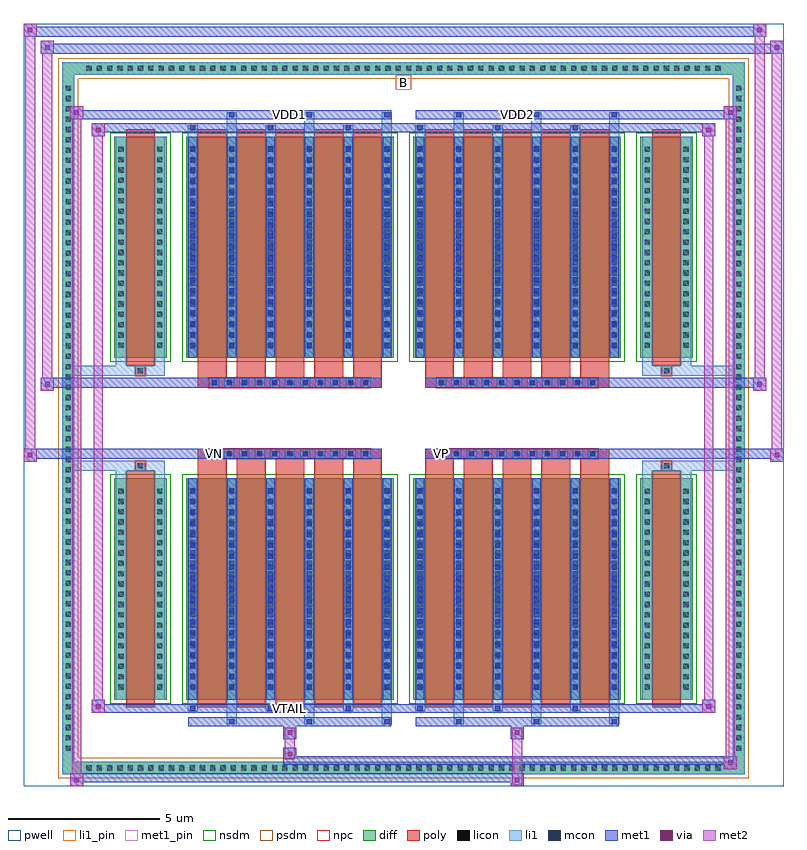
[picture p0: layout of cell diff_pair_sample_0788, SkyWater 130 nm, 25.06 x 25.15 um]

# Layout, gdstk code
import gdstk
lib = gdstk.Library(unit=1e-6, precision=5e-09)
def R(c, l, rs):  # rectangles x0, y0, x1, y1
    for r in rs: c.add(gdstk.rectangle(r[:2], r[2:], *l))
def A(c, l, x, y, w, h, nx, ny, dx, dy):  # array of equal rectangles
    R(c, l, [(x+i*dx, y+j*dy, x+i*dx+w, y+j*dy+h) for i in range(nx) for j in range(ny)])
def P(c, l, *ps):  # polygons
    for p in ps: c.add(gdstk.Polygon(p, *l))
pwell = (64, 44)
diff = (65, 20)
poly = (66, 20)
licon = (66, 44)
li1_pin = (67, 16)
li1 = (67, 20)
mcon = (67, 44)
met1_pin = (68, 16)
met1 = (68, 20)
via = (68, 44)
met2 = (69, 20)
nsdm = (93, 44)
psdm = (94, 20)
npc = (95, 20)

diff_pair_sample_0788 = lib.new_cell('diff_pair_sample_0788')
R(diff_pair_sample_0788, pwell, [(-12.53,-12.14,12.53,13.01), (-9.85,-10.33,-0.01,-0.805), (0.01,-10.33,9.85,-0.805), (-9.85,0.805,-0.01,10.33), (0.01,0.805,9.85,10.33)])
A(diff_pair_sample_0788, diff, -10.575, -11.74, 0.41, 0.41, 62, 2, 0.34, 23.07)
A(diff_pair_sample_0788, diff, -11.26, -11.085, 0.41, 0.41, 1, 65, 0, 0.34)
A(diff_pair_sample_0788, diff, 10.85, -11.085, 0.41, 0.41, 1, 65, 0, 0.34)
R(diff_pair_sample_0788, diff, [(-10.575,-11.74,10.575,-11.33), (-11.26,-11.085,-10.85,11.085), (10.85,-11.085,11.26,11.085), (-9.54,-9.285,-7.81,-1.985), (-7.17,-9.285,-0.32,-1.985), (0.32,-9.285,7.17,-1.985), (7.81,-9.285,9.54,-1.985), (-9.54,1.985,-7.81,9.285), (-7.17,1.985,-0.32,9.285), (0.32,1.985,7.17,9.285), (7.81,1.985,9.54,9.285), (-10.575,11.33,10.575,11.74)])
P(diff_pair_sample_0788, diff, [(11.26,11.74),(-11.26,11.74),(-11.26,-11.33),(-10.85,-11.33),(-10.85,11.33),(10.85,11.33),(10.85,-11.33),(-10.85,-11.33),(-11.26,-11.33),(-11.26,-11.74),(11.26,-11.74)])
A(diff_pair_sample_0788, poly, -6.78, -9.535, 0.95, 7.8, 5, 2, 1.28, 11.27)
A(diff_pair_sample_0788, poly, 0.71, -9.535, 0.95, 7.8, 5, 2, 1.28, 11.27)
A(diff_pair_sample_0788, poly, -6.78, -1.735, 0.95, 0.4, 5, 2, 1.28, 3.07)
A(diff_pair_sample_0788, poly, 0.71, -1.735, 0.95, 0.4, 5, 2, 1.28, 3.07)
A(diff_pair_sample_0788, poly, -6.41, -1.335, 0.33, 0.33, 11, 2, 0.5, 2.34)
A(diff_pair_sample_0788, poly, 1.08, -1.335, 0.33, 0.33, 11, 2, 0.5, 2.34)
R(diff_pair_sample_0788, poly, [(-9.15,-9.535,-8.2,-1.735), (8.2,-9.535,9.15,-1.735), (-8.84,-1.735,-8.51,-1.405), (-8.84,-1.735,-8.51,-1.405), (8.51,-1.735,8.84,-1.405), (8.51,-1.735,8.84,-1.405), (-6.78,-1.335,-0.71,-1.005), (0.71,-1.335,6.78,-1.005), (-6.78,1.005,-0.71,1.335), (0.71,1.005,6.78,1.335), (-8.84,1.405,-8.51,1.735), (-8.84,1.405,-8.51,1.735), (8.51,1.405,8.84,1.735), (8.51,1.405,8.84,1.735), (-9.15,1.735,-8.2,9.535), (8.2,1.735,9.15,9.535)])
A(diff_pair_sample_0788, licon, -10.455, -11.62, 0.17, 0.17, 62, 2, 0.34, 23.07)
A(diff_pair_sample_0788, licon, -11.14, -10.965, 0.17, 0.17, 1, 65, 0, 0.34)
A(diff_pair_sample_0788, licon, 10.97, -10.965, 0.17, 0.17, 1, 65, 0, 0.34)
A(diff_pair_sample_0788, licon, -9.4, -8.95, 0.17, 0.17, 1, 20, 0, 0.34)
A(diff_pair_sample_0788, licon, -8.12, -8.95, 0.17, 0.17, 1, 20, 0, 0.34)
A(diff_pair_sample_0788, licon, -7.03, -8.95, 0.17, 0.17, 6, 20, 1.28, 0.34)
A(diff_pair_sample_0788, licon, 0.46, -8.95, 0.17, 0.17, 6, 20, 1.28, 0.34)
A(diff_pair_sample_0788, licon, 7.95, -8.95, 0.17, 0.17, 1, 20, 0, 0.34)
A(diff_pair_sample_0788, licon, 9.23, -8.95, 0.17, 0.17, 1, 20, 0, 0.34)
A(diff_pair_sample_0788, licon, -6.33, -1.255, 0.17, 0.17, 11, 2, 0.5, 2.34)
A(diff_pair_sample_0788, licon, 1.16, -1.255, 0.17, 0.17, 11, 2, 0.5, 2.34)
A(diff_pair_sample_0788, licon, -9.4, 2.32, 0.17, 0.17, 1, 20, 0, 0.34)
A(diff_pair_sample_0788, licon, -8.12, 2.32, 0.17, 0.17, 1, 20, 0, 0.34)
A(diff_pair_sample_0788, licon, -7.03, 2.32, 0.17, 0.17, 6, 20, 1.28, 0.34)
A(diff_pair_sample_0788, licon, 0.46, 2.32, 0.17, 0.17, 6, 20, 1.28, 0.34)
A(diff_pair_sample_0788, licon, 7.95, 2.32, 0.17, 0.17, 1, 20, 0, 0.34)
A(diff_pair_sample_0788, licon, 9.23, 2.32, 0.17, 0.17, 1, 20, 0, 0.34)
R(diff_pair_sample_0788, licon, [(-8.76,-1.655,-8.59,-1.485), (8.59,-1.655,8.76,-1.485), (-8.76,1.485,-8.59,1.655), (8.59,1.485,8.76,1.655)])
R(diff_pair_sample_0788, li1_pin, [(-0.25,10.83,0.25,11.33)])
A(diff_pair_sample_0788, li1, -10.535, -11.7, 0.33, 0.33, 62, 2, 0.34, 23.07)
A(diff_pair_sample_0788, li1, -11.22, -11.045, 0.33, 0.33, 1, 65, 0, 0.34)
A(diff_pair_sample_0788, li1, 10.89, -11.045, 0.33, 0.33, 1, 65, 0, 0.34)
A(diff_pair_sample_0788, li1, -5.83, -10.09, 0.33, 0.805, 3, 2, 2.56, 19.375)
A(diff_pair_sample_0788, li1, -5.75, -10.09, 0.17, 0.17, 3, 2, 2.56, 20.01)
A(diff_pair_sample_0788, li1, 1.66, -10.09, 0.33, 0.805, 3, 2, 2.56, 19.375)
A(diff_pair_sample_0788, li1, 1.74, -10.09, 0.17, 0.17, 3, 2, 2.56, 20.01)
A(diff_pair_sample_0788, li1, -7.11, -9.66, 0.33, 0.375, 3, 2, 2.56, 18.945)
A(diff_pair_sample_0788, li1, -7.03, -9.66, 0.17, 0.17, 3, 2, 2.56, 19.15)
A(diff_pair_sample_0788, li1, 0.38, -9.66, 0.33, 0.375, 3, 2, 2.56, 18.945)
A(diff_pair_sample_0788, li1, 0.46, -9.66, 0.17, 0.17, 3, 2, 2.56, 19.15)
A(diff_pair_sample_0788, li1, -7.11, -9.285, 0.33, 7.3, 6, 2, 1.28, 11.27)
A(diff_pair_sample_0788, li1, 0.38, -9.285, 0.33, 7.3, 6, 2, 1.28, 11.27)
A(diff_pair_sample_0788, li1, -9.48, -9.03, 0.33, 0.33, 1, 20, 0, 0.34)
A(diff_pair_sample_0788, li1, -8.2, -9.03, 0.33, 0.33, 1, 20, 0, 0.34)
A(diff_pair_sample_0788, li1, -7.11, -9.03, 0.33, 0.33, 6, 20, 1.28, 0.34)
A(diff_pair_sample_0788, li1, 0.38, -9.03, 0.33, 0.33, 6, 20, 1.28, 0.34)
A(diff_pair_sample_0788, li1, 7.87, -9.03, 0.33, 0.33, 1, 20, 0, 0.34)
A(diff_pair_sample_0788, li1, 9.15, -9.03, 0.33, 0.33, 1, 20, 0, 0.34)
A(diff_pair_sample_0788, li1, -7.03, -8.96, 0.17, 0.17, 6, 19, 1.28, 0.36)
A(diff_pair_sample_0788, li1, -7.03, -8.96, 0.17, 6.65, 6, 2, 1.28, 11.27)
A(diff_pair_sample_0788, li1, 0.46, -8.96, 0.17, 0.17, 6, 19, 1.28, 0.36)
A(diff_pair_sample_0788, li1, 0.46, -8.96, 0.17, 6.65, 6, 2, 1.28, 11.27)
A(diff_pair_sample_0788, li1, -6.41, -1.335, 0.33, 0.33, 11, 2, 0.5, 2.34)
A(diff_pair_sample_0788, li1, 1.08, -1.335, 0.33, 0.33, 11, 2, 0.5, 2.34)
A(diff_pair_sample_0788, li1, -9.48, 2.24, 0.33, 0.33, 1, 20, 0, 0.34)
A(diff_pair_sample_0788, li1, -8.2, 2.24, 0.33, 0.33, 1, 20, 0, 0.34)
A(diff_pair_sample_0788, li1, -7.11, 2.24, 0.33, 0.33, 6, 20, 1.28, 0.34)
A(diff_pair_sample_0788, li1, 0.38, 2.24, 0.33, 0.33, 6, 20, 1.28, 0.34)
A(diff_pair_sample_0788, li1, 7.87, 2.24, 0.33, 0.33, 1, 20, 0, 0.34)
A(diff_pair_sample_0788, li1, 9.15, 2.24, 0.33, 0.33, 1, 20, 0, 0.34)
A(diff_pair_sample_0788, li1, -7.03, 2.31, 0.17, 0.17, 6, 19, 1.28, 0.36)
A(diff_pair_sample_0788, li1, 0.46, 2.31, 0.17, 0.17, 6, 19, 1.28, 0.36)
R(diff_pair_sample_0788, li1, [(-11.26,-11.74,-10.85,-11.33), (-11.26,-11.74,-10.85,-11.33), (-10.85,-11.74,10.85,-11.33), (10.85,-11.74,11.26,-11.33), (10.85,-11.74,11.26,-11.33), (-11.26,-11.33,-10.85,11.33), (10.85,-11.33,11.26,11.33), (-9.48,-9.285,-9.15,-1.985), (-8.2,-9.285,-7.87,-1.985), (7.87,-9.285,8.2,-1.985), (9.15,-9.285,9.48,-1.985), (-9.48,-1.985,-9.15,-1.405), (-8.2,-1.985,-7.87,-1.405), (7.87,-1.985,8.2,-1.405), (9.15,-1.985,9.48,-1.405), (-11.26,-1.735,-8.84,-1.405), (-9.48,-1.735,-8.84,-1.405), (-8.84,-1.735,-8.51,-1.405), (-8.51,-1.735,-7.87,-1.405), (7.87,-1.735,8.51,-1.405), (8.51,-1.735,8.84,-1.405), (8.51,-1.735,11.26,-1.405), (8.84,-1.735,9.48,-1.405), (-11.26,1.405,-8.84,1.735), (-9.48,1.405,-8.84,1.735), (-9.48,1.405,-9.15,1.985), (-8.84,1.405,-8.51,1.735), (-8.51,1.405,-7.87,1.735), (-8.2,1.405,-7.87,1.985), (7.87,1.405,8.51,1.735), (7.87,1.405,8.2,1.985), (8.51,1.405,8.84,1.735), (8.51,1.405,11.26,1.735), (8.84,1.405,9.48,1.735), (9.15,1.405,9.48,1.985), (-9.48,1.985,-9.15,9.285), (-8.2,1.985,-7.87,9.285), (7.87,1.985,8.2,9.285), (9.15,1.985,9.48,9.285), (-11.26,11.33,-10.85,11.74), (-11.26,11.33,-10.85,11.74), (-10.85,11.33,10.85,11.74), (10.85,11.33,11.26,11.74), (10.85,11.33,11.26,11.74)])
A(diff_pair_sample_0788, mcon, -5.75, -10.09, 0.17, 0.17, 3, 2, 2.56, 20.01)
A(diff_pair_sample_0788, mcon, 1.74, -10.09, 0.17, 0.17, 3, 2, 2.56, 20.01)
A(diff_pair_sample_0788, mcon, -7.03, -9.66, 0.17, 0.17, 3, 2, 2.56, 19.15)
A(diff_pair_sample_0788, mcon, 0.46, -9.66, 0.17, 0.17, 3, 2, 2.56, 19.15)
A(diff_pair_sample_0788, mcon, -7.03, -8.96, 0.17, 0.17, 6, 19, 1.28, 0.36)
A(diff_pair_sample_0788, mcon, 0.46, -8.96, 0.17, 0.17, 6, 19, 1.28, 0.36)
A(diff_pair_sample_0788, mcon, -6.33, -1.255, 0.17, 0.17, 11, 2, 0.5, 2.34)
A(diff_pair_sample_0788, mcon, 1.16, -1.255, 0.17, 0.17, 11, 2, 0.5, 2.34)
A(diff_pair_sample_0788, mcon, -7.03, 2.31, 0.17, 0.17, 6, 19, 1.28, 0.36)
A(diff_pair_sample_0788, mcon, 0.46, 2.31, 0.17, 0.17, 6, 19, 1.28, 0.36)
R(diff_pair_sample_0788, met1_pin, [(-3.88,-9.7,-3.61,-9.43), (-6.38,-1.295,-6.11,-1.025), (1.11,-1.295,1.38,-1.025), (-3.88,9.88,-3.61,10.15), (3.61,9.88,3.88,10.15)])
A(diff_pair_sample_0788, met1, -5.81, -10.15, 0.29, 0.29, 3, 2, 2.56, 20.01)
A(diff_pair_sample_0788, met1, 1.68, -10.15, 0.29, 0.29, 3, 2, 2.56, 20.01)
A(diff_pair_sample_0788, met1, -7.09, -9.72, 0.29, 0.29, 3, 2, 2.56, 19.15)
A(diff_pair_sample_0788, met1, 0.4, -9.72, 0.29, 0.29, 3, 2, 2.56, 19.15)
A(diff_pair_sample_0788, met1, -7.09, -9.285, 0.29, 7.3, 6, 2, 1.28, 11.27)
A(diff_pair_sample_0788, met1, 0.4, -9.285, 0.29, 7.3, 6, 2, 1.28, 11.27)
A(diff_pair_sample_0788, met1, -7.09, -9.02, 0.29, 0.29, 6, 19, 1.28, 0.36)
A(diff_pair_sample_0788, met1, 0.4, -9.02, 0.29, 0.29, 6, 19, 1.28, 0.36)
A(diff_pair_sample_0788, met1, -6.39, -1.315, 0.29, 0.29, 11, 2, 0.5, 2.34)
A(diff_pair_sample_0788, met1, 1.1, -1.315, 0.29, 0.29, 11, 2, 0.5, 2.34)
A(diff_pair_sample_0788, met1, -7.09, 2.25, 0.29, 0.29, 6, 19, 1.28, 0.36)
A(diff_pair_sample_0788, met1, 0.4, 2.25, 0.29, 0.29, 6, 19, 1.28, 0.36)
R(diff_pair_sample_0788, met1, [(-10.99,-12.14,-10.56,-11.71), (3.53,-12.14,3.96,-11.71), (-10.99,-12,3.96,-11.71), (10.56,-11.57,10.99,-11.14), (-3.96,-11.43,10.99,-11.14), (-3.96,-11.29,-3.53,-10.86), (-3.96,-10.58,-3.53,-10.15), (3.53,-10.58,3.96,-10.15), (-7.09,-10.15,-0.4,-9.86), (0.4,-10.15,7.09,-9.86), (-10.28,-9.72,-9.85,-9.29), (-10.28,-9.72,-7.09,-9.43), (-7.09,-9.72,-0.4,-9.43), (-0.4,-9.72,0.4,-9.43), (0.4,-9.72,7.09,-9.43), (7.09,-9.72,10.28,-9.43), (9.85,-9.72,10.28,-9.29), (-12.53,-1.435,-12.1,-1.005), (12.1,-1.435,12.53,-1.005), (-12.53,-1.335,-0.71,-1.005), (-6.78,-1.335,-0.71,-1.005), (0.71,-1.335,6.78,-1.005), (0.71,-1.335,12.53,-1.005), (-11.96,0.905,-11.53,1.335), (11.53,0.905,11.96,1.335), (-11.96,1.005,-6.78,1.335), (-6.78,1.005,-0.71,1.335), (0.71,1.005,6.78,1.335), (6.78,1.005,11.96,1.335), (-10.28,9.29,-9.85,9.72), (9.85,9.29,10.28,9.72), (-10.28,9.43,-7.09,9.72), (-7.09,9.43,-0.4,9.72), (-0.4,9.43,0.4,9.72), (0.4,9.43,7.09,9.72), (7.09,9.43,10.28,9.72), (-10.99,9.86,-10.56,10.29), (-10.99,9.86,-7.09,10.15), (-7.09,9.86,-0.4,10.15), (0.4,9.86,7.09,10.15), (7.09,9.86,10.99,10.15), (10.56,9.86,10.99,10.29), (-11.96,12.01,-11.53,12.44), (-11.96,12.01,-9.85,12.34), (-9.85,12.01,9.85,12.34), (9.85,12.01,12.53,12.34), (12.1,12.01,12.53,12.44), (-12.53,12.58,-12.1,13.01), (-12.53,12.58,-9.85,12.91), (-9.85,12.58,9.85,12.91), (9.85,12.58,11.96,12.91), (11.53,12.58,11.96,13.01)])
R(diff_pair_sample_0788, via, [(-10.85,-12,-10.7,-11.85), (3.67,-12,3.82,-11.85), (10.7,-11.43,10.85,-11.28), (-3.82,-11.15,-3.67,-11), (-3.82,-10.44,-3.67,-10.29), (3.67,-10.44,3.82,-10.29), (-10.14,-9.58,-9.99,-9.43), (9.99,-9.58,10.14,-9.43), (-12.39,-1.295,-12.24,-1.145), (12.24,-1.295,12.39,-1.145), (-11.82,1.045,-11.67,1.195), (11.67,1.045,11.82,1.195), (-10.14,9.43,-9.99,9.58), (9.99,9.43,10.14,9.58), (-10.85,10,-10.7,10.15), (10.7,10,10.85,10.15), (-11.82,12.15,-11.67,12.3), (12.24,12.15,12.39,12.3), (-12.39,12.72,-12.24,12.87), (11.67,12.72,11.82,12.87)])
R(diff_pair_sample_0788, met2, [(-10.99,-12.14,-10.56,-11.71), (-10.92,-12.14,-10.63,10.29), (-10.63,-12.14,-10.56,-11.71), (-10.94,-12.09,-10.61,-11.76), (3.58,-12.09,3.91,-11.76), (3.58,-11.76,3.91,-10.53), (10.56,-11.57,10.99,-11.14), (10.63,-11.57,10.92,10.29), (10.92,-11.57,10.99,-11.14), (10.61,-11.52,10.94,-11.19), (-3.91,-11.24,-3.58,-10.91), (-3.91,-10.91,-3.58,-10.53), (-3.91,-10.53,-3.58,-10.2), (3.58,-10.53,3.91,-10.2), (-10.28,-9.72,-9.85,-9.29), (-10.21,-9.72,-9.92,9.72), (-9.92,-9.72,-9.85,-9.29), (9.85,-9.72,10.28,-9.29), (9.92,-9.72,10.21,9.72), (10.21,-9.72,10.28,-9.29), (-10.23,-9.67,-9.9,-9.34), (9.9,-9.67,10.23,-9.34), (-12.53,-1.435,-12.1,-1.005), (-12.48,-1.435,-12.15,13.01), (-12.15,-1.435,-12.1,-1.005), (12.1,-1.435,12.53,-1.005), (12.15,-1.435,12.48,12.44), (12.48,-1.435,12.53,-1.005), (-12.48,-1.385,-12.15,-1.055), (12.15,-1.385,12.48,-1.055), (-11.96,0.905,-11.53,1.335), (-11.91,0.905,-11.58,12.44), (-11.58,0.905,-11.53,1.335), (11.53,0.905,11.96,1.335), (11.58,0.905,11.91,13.01), (11.91,0.905,11.96,1.335), (-11.91,0.955,-11.58,1.285), (11.58,0.955,11.91,1.285), (-10.28,9.29,-9.85,9.72), (-9.92,9.29,-9.85,9.72), (9.85,9.29,10.28,9.72), (10.21,9.29,10.28,9.72), (-10.23,9.34,-9.9,9.67), (9.9,9.34,10.23,9.67), (-10.99,9.86,-10.56,10.29), (-10.63,9.86,-10.56,10.29), (10.56,9.86,10.99,10.29), (10.92,9.86,10.99,10.29), (-10.94,9.91,-10.61,10.24), (10.61,9.91,10.94,10.24), (-11.96,12.01,-11.53,12.44), (-11.58,12.01,-11.53,12.44), (12.1,12.01,12.53,12.44), (12.48,12.01,12.53,12.44), (-11.91,12.06,-11.58,12.39), (12.15,12.06,12.48,12.39), (-12.53,12.58,-12.1,13.01), (-12.15,12.58,-12.1,13.01), (11.53,12.58,11.96,13.01), (11.91,12.58,11.96,13.01), (-12.48,12.63,-12.15,12.96), (11.58,12.63,11.91,12.96)])
R(diff_pair_sample_0788, nsdm, [(-9.67,-9.415,-7.68,-1.855), (-7.3,-9.415,-0.19,-1.855), (0.19,-9.415,7.3,-1.855), (7.68,-9.415,9.67,-1.855), (-9.67,1.855,-7.68,9.415), (-7.3,1.855,-0.19,9.415), (0.19,1.855,7.3,9.415), (7.68,1.855,9.67,9.415)])
P(diff_pair_sample_0788, psdm, [(11.39,11.87),(-11.39,11.87),(-11.39,-11.2),(-10.72,-11.2),(-10.72,11.2),(10.72,11.2),(10.72,-11.2),(-10.72,-11.2),(-11.39,-11.2),(-11.39,-11.87),(11.39,-11.87)])
A(diff_pair_sample_0788, npc, -6.43, -1.355, 0.37, 0.37, 11, 2, 0.5, 2.34)
A(diff_pair_sample_0788, npc, 1.06, -1.355, 0.37, 0.37, 11, 2, 0.5, 2.34)
R(diff_pair_sample_0788, npc, [(-8.86,-1.755,-8.49,-1.385), (8.49,-1.755,8.86,-1.385), (-6.43,-1.355,-5.56,-0.985), (-6.43,-1.355,-5.56,-0.985), (-5.93,-1.355,-5.06,-0.985), (-5.93,-1.355,-5.06,-0.985), (-5.43,-1.355,-4.56,-0.985), (-5.43,-1.355,-4.56,-0.985), (-4.93,-1.355,-4.06,-0.985), (-4.93,-1.355,-4.06,-0.985), (-4.43,-1.355,-3.56,-0.985), (-4.43,-1.355,-3.56,-0.985), (-3.93,-1.355,-3.06,-0.985), (-3.93,-1.355,-3.06,-0.985), (-3.43,-1.355,-2.56,-0.985), (-3.43,-1.355,-2.56,-0.985), (-2.93,-1.355,-2.06,-0.985), (-2.93,-1.355,-2.06,-0.985), (-2.43,-1.355,-1.56,-0.985), (-2.43,-1.355,-1.56,-0.985), (-1.93,-1.355,-1.06,-0.985), (-1.93,-1.355,-1.06,-0.985), (1.06,-1.355,1.93,-0.985), (1.06,-1.355,1.93,-0.985), (1.56,-1.355,2.43,-0.985), (1.56,-1.355,2.43,-0.985), (2.06,-1.355,2.93,-0.985), (2.06,-1.355,2.93,-0.985), (2.56,-1.355,3.43,-0.985), (2.56,-1.355,3.43,-0.985), (3.06,-1.355,3.93,-0.985), (3.06,-1.355,3.93,-0.985), (3.56,-1.355,4.43,-0.985), (3.56,-1.355,4.43,-0.985), (4.06,-1.355,4.93,-0.985), (4.06,-1.355,4.93,-0.985), (4.56,-1.355,5.43,-0.985), (4.56,-1.355,5.43,-0.985), (5.06,-1.355,5.93,-0.985), (5.06,-1.355,5.93,-0.985), (5.56,-1.355,6.43,-0.985), (5.56,-1.355,6.43,-0.985), (-6.43,0.985,-5.56,1.355), (-6.43,0.985,-5.56,1.355), (-5.93,0.985,-5.06,1.355), (-5.93,0.985,-5.06,1.355), (-5.43,0.985,-4.56,1.355), (-5.43,0.985,-4.56,1.355), (-4.93,0.985,-4.06,1.355), (-4.93,0.985,-4.06,1.355), (-4.43,0.985,-3.56,1.355), (-4.43,0.985,-3.56,1.355), (-3.93,0.985,-3.06,1.355), (-3.93,0.985,-3.06,1.355), (-3.43,0.985,-2.56,1.355), (-3.43,0.985,-2.56,1.355), (-2.93,0.985,-2.06,1.355), (-2.93,0.985,-2.06,1.355), (-2.43,0.985,-1.56,1.355), (-2.43,0.985,-1.56,1.355), (-1.93,0.985,-1.06,1.355), (-1.93,0.985,-1.06,1.355), (1.06,0.985,1.93,1.355), (1.06,0.985,1.93,1.355), (1.56,0.985,2.43,1.355), (1.56,0.985,2.43,1.355), (2.06,0.985,2.93,1.355), (2.06,0.985,2.93,1.355), (2.56,0.985,3.43,1.355), (2.56,0.985,3.43,1.355), (3.06,0.985,3.93,1.355), (3.06,0.985,3.93,1.355), (3.56,0.985,4.43,1.355), (3.56,0.985,4.43,1.355), (4.06,0.985,4.93,1.355), (4.06,0.985,4.93,1.355), (4.56,0.985,5.43,1.355), (4.56,0.985,5.43,1.355), (5.06,0.985,5.93,1.355), (5.06,0.985,5.93,1.355), (5.56,0.985,6.43,1.355), (5.56,0.985,6.43,1.355), (-8.86,1.385,-8.49,1.755), (8.49,1.385,8.86,1.755)])
diff_pair_sample_0788.add(gdstk.Label('VTAIL', (-3.745,-9.565), layer=68, texttype=5))
diff_pair_sample_0788.add(gdstk.Label('VN', (-6.245,-1.16), layer=68, texttype=5))
diff_pair_sample_0788.add(gdstk.Label('VP', (1.245,-1.16), layer=68, texttype=5))
diff_pair_sample_0788.add(gdstk.Label('B', (0,11.08), layer=67, texttype=5))
diff_pair_sample_0788.add(gdstk.Label('VDD2', (3.745,10.015), layer=68, texttype=5))
diff_pair_sample_0788.add(gdstk.Label('VDD1', (-3.745,10.015), layer=68, texttype=5))

lib.write_gds('diff_pair_sample_0788.gds')
